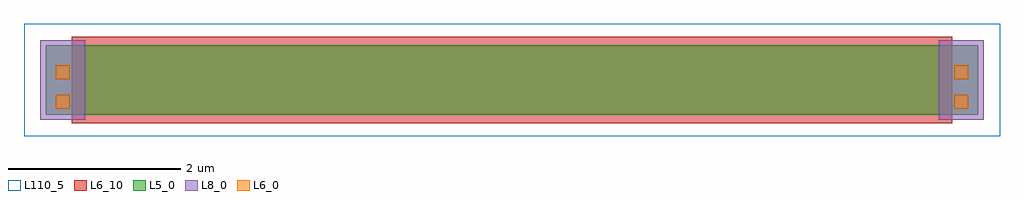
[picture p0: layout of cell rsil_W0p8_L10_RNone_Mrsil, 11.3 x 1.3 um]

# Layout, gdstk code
import gdstk
lib = gdstk.Library(unit=1e-6, precision=1e-09)
def R(c, l, rs):  # rectangles x0, y0, x1, y1
    for r in rs: c.add(gdstk.rectangle(r[:2], r[2:], *l))
L5_0 = (5, 0)
L6_0 = (6, 0)
L6_10 = (6, 10)
L8_0 = (8, 0)
L110_5 = (110, 5)

rectangle_gdsfactorypcom = lib.new_cell('rectangle_gdsfactorypcomponentspshapesprectangle_S10_0p_ba5ff4a0')
R(rectangle_gdsfactorypcom, L5_0, [(-5,-0.4,5,0.4)])

c_rectangle_gdsfactorypcom = lib.new_cell('rectangle_gdsfactorypcomponentspshapesprectangle_S10p2__42f3c72d')
R(c_rectangle_gdsfactorypcom, L6_10, [(-5.1,-0.5,5.1,0.5)])

c_rectangle_gdsfactorypcom_ = lib.new_cell('rectangle_gdsfactorypcomponentspshapesprectangle_S0p4_0_e53f5aeb')
R(c_rectangle_gdsfactorypcom_, L5_0, [(0,0,0.4,0.8)])

c_rectangle_gdsfactorypcom__ = lib.new_cell('rectangle_gdsfactorypcomponentspshapesprectangle_S0p16__69e6ae0d')
R(c_rectangle_gdsfactorypcom__, L6_0, [(0,0,0.16,0.16)])

c_rectangle_gdsfactorypcom___ = lib.new_cell('rectangle_gdsfactorypcomponentspshapesprectangle_S0p52__128d8a6d')
R(c_rectangle_gdsfactorypcom___, L8_0, [(0,0,0.52,0.92)])

c_rectangle_gdsfactorypcom____ = lib.new_cell('rectangle_gdsfactorypcomponentspshapesprectangle_S11p3__f2486ad7')
R(c_rectangle_gdsfactorypcom____, L110_5, [(-5.65,-0.65,5.65,0.65)])

rsil_w0p8_l10_rnone_mrsi = lib.new_cell('rsil_W0p8_L10_RNone_Mrsil')
rsil_w0p8_l10_rnone_mrsi.add(gdstk.Reference(rectangle_gdsfactorypcom, (0,0)))
rsil_w0p8_l10_rnone_mrsi.add(gdstk.Reference(c_rectangle_gdsfactorypcom, (0,0)))
rsil_w0p8_l10_rnone_mrsi.add(gdstk.Reference(c_rectangle_gdsfactorypcom_, (-5.4,-0.4)))
rsil_w0p8_l10_rnone_mrsi.add(gdstk.Reference(c_rectangle_gdsfactorypcom_, (5,-0.4)))
rsil_w0p8_l10_rnone_mrsi.add(gdstk.Reference(c_rectangle_gdsfactorypcom__, (-5.28,-0.33)))
rsil_w0p8_l10_rnone_mrsi.add(gdstk.Reference(c_rectangle_gdsfactorypcom__, (5.12,-0.33)))
rsil_w0p8_l10_rnone_mrsi.add(gdstk.Reference(c_rectangle_gdsfactorypcom__, (-5.28,0.01)))
rsil_w0p8_l10_rnone_mrsi.add(gdstk.Reference(c_rectangle_gdsfactorypcom__, (5.12,0.01)))
rsil_w0p8_l10_rnone_mrsi.add(gdstk.Reference(c_rectangle_gdsfactorypcom___, (-5.46,-0.46)))
rsil_w0p8_l10_rnone_mrsi.add(gdstk.Reference(c_rectangle_gdsfactorypcom___, (4.94,-0.46)))
rsil_w0p8_l10_rnone_mrsi.add(gdstk.Reference(c_rectangle_gdsfactorypcom____, (0,0)))

lib.write_gds('rsil_W0p8_L10_RNone_Mrsil.gds')
